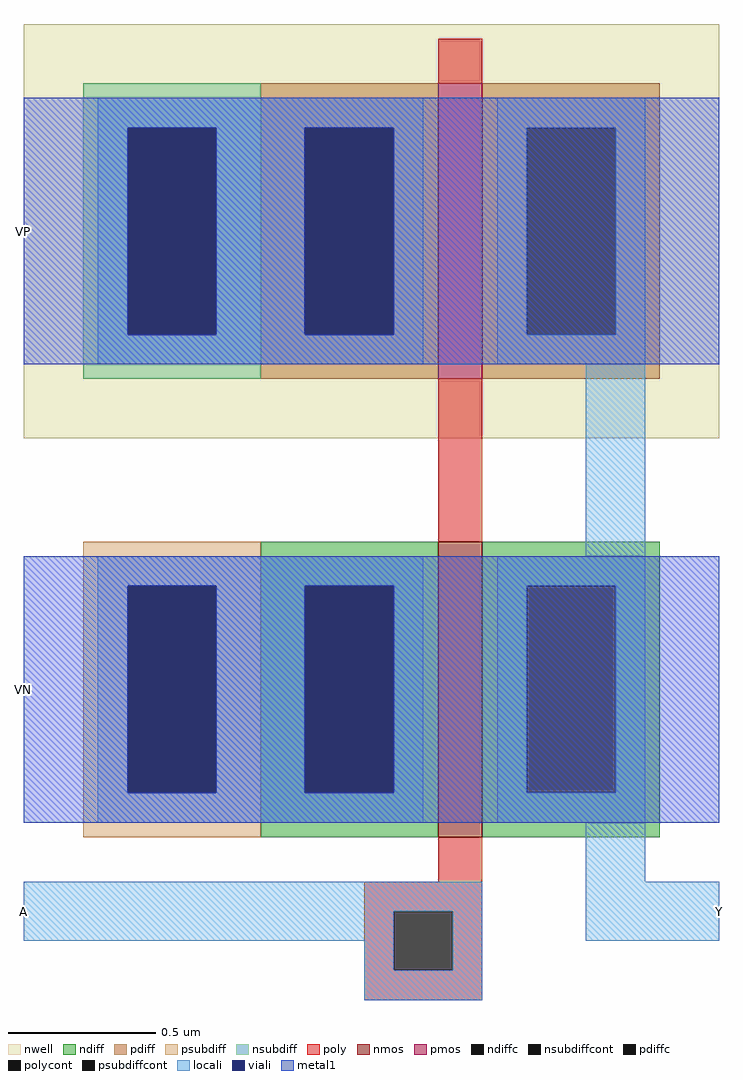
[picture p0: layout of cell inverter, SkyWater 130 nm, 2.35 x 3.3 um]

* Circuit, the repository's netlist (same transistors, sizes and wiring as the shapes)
* NGSPICE file created from inverter.ext - technology: sky130A

.subckt inverter A Y VP VN
X0 Y A VP VP sky130_fd_pr__pfet_01v8 ad=0.6 pd=3.2 as=0.6 ps=3.2 w=1 l=0.15
X1 Y A VN VN sky130_fd_pr__nfet_01v8 ad=0.6 pd=3.2 as=0.6 ps=3.2 w=1 l=0.15
.ends

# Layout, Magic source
magic
tech sky130A
<< nwell >>
rect 440 250 675 390
<< nmos >>
rect 580 115 595 215
<< pmos >>
rect 580 270 595 370
<< ndiff >>
rect 520 200 580 215
rect 520 130 535 200
rect 565 130 580 200
rect 520 115 580 130
rect 595 200 655 215
rect 595 130 610 200
rect 640 130 655 200
rect 595 115 655 130
<< pdiff >>
rect 520 355 580 370
rect 520 285 535 355
rect 565 285 580 355
rect 520 270 580 285
rect 595 355 655 370
rect 595 285 610 355
rect 640 285 655 355
rect 595 270 655 285
<< ndiffc >>
rect 535 130 565 200
rect 610 130 640 200
<< pdiffc >>
rect 535 285 565 355
rect 610 285 640 355
<< psubdiff >>
rect 460 200 520 215
rect 460 130 475 200
rect 505 130 520 200
rect 460 115 520 130
<< nsubdiff >>
rect 460 355 520 370
rect 460 285 475 355
rect 505 285 520 355
rect 460 270 520 285
<< psubdiffcont >>
rect 475 130 505 200
<< nsubdiffcont >>
rect 475 285 505 355
<< poly >>
rect 580 370 595 385
rect 580 215 595 270
rect 580 100 595 115
rect 555 90 595 100
rect 555 70 565 90
rect 585 70 595 90
rect 555 60 595 70
<< polycont >>
rect 565 70 585 90
<< locali >>
rect 465 355 575 365
rect 465 285 475 355
rect 505 285 535 355
rect 565 285 575 355
rect 465 275 575 285
rect 600 355 650 365
rect 600 285 610 355
rect 640 285 650 355
rect 600 275 650 285
rect 630 210 650 275
rect 465 200 575 210
rect 465 130 475 200
rect 505 130 535 200
rect 565 130 575 200
rect 465 120 575 130
rect 600 200 650 210
rect 600 130 610 200
rect 640 130 650 200
rect 600 120 650 130
rect 630 100 650 120
rect 440 90 595 100
rect 440 80 565 90
rect 555 70 565 80
rect 585 70 595 90
rect 630 80 675 100
rect 555 60 595 70
<< viali >>
rect 475 285 505 355
rect 535 285 565 355
rect 475 130 505 200
rect 535 130 565 200
<< metal1 >>
rect 440 355 675 365
rect 440 285 475 355
rect 505 285 535 355
rect 565 285 675 355
rect 440 275 675 285
rect 440 200 675 210
rect 440 130 475 200
rect 505 130 535 200
rect 565 130 675 200
rect 440 120 675 130
<< labels >>
rlabel locali 440 90 440 90 7 A
port 1 w
rlabel locali 675 90 675 90 3 Y
port 2 e
rlabel metal1 440 320 440 320 7 VP
port 3 w
rlabel metal1 440 165 440 165 7 VN
port 4 w
<< end >>
